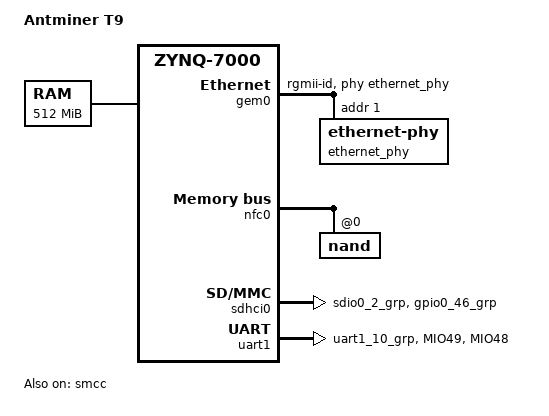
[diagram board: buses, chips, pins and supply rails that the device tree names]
// SPDX-License-Identifier: GPL-2.0
/*
 * Copyright (C) 2024 warmonkey <luoshumymail@gmail.com>
 */
/dts-v1/;
/include/ "zynq-7000.dtsi"

/ {
	model = "Antminer T9";
	compatible = "antminer,t9", "xlnx,zynq-7000";

	aliases {
		ethernet0 = &gem0;
		serial0 = &uart1;
	};

	memory@0 {
		device_type = "memory";
		reg = <0x0 0x20000000>;
	};

	chosen {
		bootargs = "root=/dev/mmcblk0p2 rw earlycon rootwait devtmpfs.mount=1 uio_pdrv_genirq.of_id=\"generic-uio\" clk_ignore_unused";
		stdout-path = "serial0:115200n8";
		pynq_board = "Pynq-T9";
	};
};

&clkc {
	ps-clk-frequency = <33333333>;
	fclk-enable = <0x0f>;
};

&gem0 {
	status = "okay";
	phy-mode = "rgmii-id";
	phy-handle = <&ethernet_phy>;

	ethernet_phy: ethernet-phy@0 {
		reg = <1>;
	};
};

&smcc {
	status = "okay";
};

&nfc0 {
	status = "okay";
	#address-cells = <1>;
	#size-cells = <0>;

	nand@0 {
		reg = <0>;
	};
};

&pinctrl0 {
	pinctrl_sdhci0_default: sdhci0-default {
		mux {
			groups = "sdio0_2_grp";
			function = "sdio0";
		};

		conf {
			groups = "sdio0_2_grp";
			io-standard = <3>;
			slew-rate = <0>;
			bias-disable;
		};

		mux-cd {
			groups = "gpio0_46_grp";
			function = "sdio0_cd";
		};

		conf-cd {
			groups = "gpio0_46_grp";
			io-standard = <3>;
			slew-rate = <0>;
			bias-high-impedance;
			bias-pull-up;
		};
	};
	
	pinctrl_uart1_default: uart1-default {
		mux {
			groups = "uart1_10_grp";
			function = "uart1";
		};

		conf {
			groups = "uart1_10_grp";
			slew-rate = <0>;
			power-source = <1>;
		};

		conf-rx {
			pins = "MIO49";
			bias-high-impedance;
		};

		conf-tx {
			pins = "MIO48";
			bias-disable;
		};
	};
};

&sdhci0 {
	status = "okay";
	disable-wp;
	pinctrl-names = "default";
	pinctrl-0 = <&pinctrl_sdhci0_default>;
};

&uart1 {
	status = "okay";
	pinctrl-names = "default";
	pinctrl-0 = <&pinctrl_uart1_default>;
};

